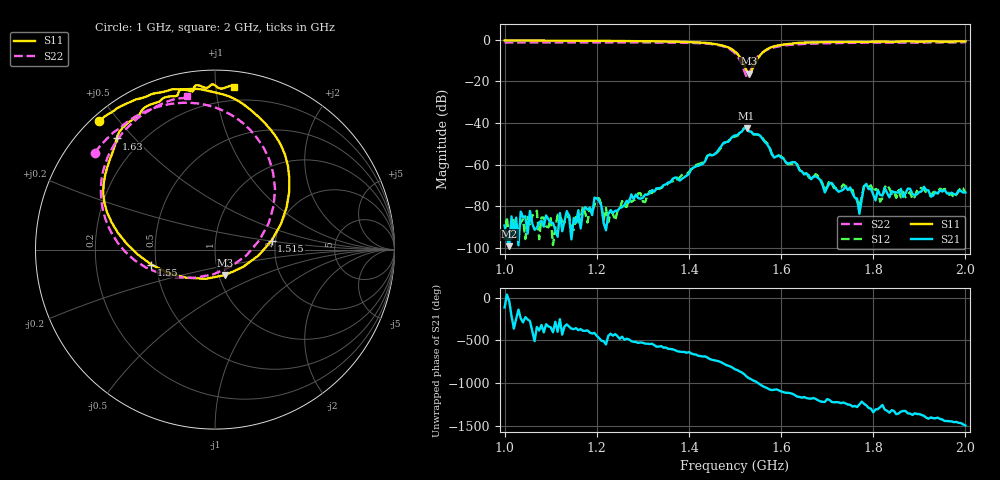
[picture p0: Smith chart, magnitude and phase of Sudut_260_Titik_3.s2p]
# Hz S RI R 50
! CMT, C1220, 16058040, 17.2.0/1
! Date: 14/08/2018 12:40:32
! Data: Format (Calibration Info)
! Freq  S11: Re/Im (F2)  S21: Re/Im (F2)  S12: Re/Im (F2)  S22: Re/Im (F2)
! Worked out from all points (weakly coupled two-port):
!   201 points, 1 GHz to 2 GHz, reference 50 ohm
!   highest |S21| = -42.43 dB at 1.525 GHz (marker M1); lowest = -99.3 dB at 1.01 GHz (marker M2)
!   lowest |S11| = -16.3 dB at 1.53 GHz (marker M3), VSWR 1.36, Z = 53.6 - j15.6 ohm
!   |S11| at or under -10 dB: 1.515 GHz to 1.547 GHz (31.58 MHz wide, 2.06 % of centre)
!   |S22| runs from -17.8 to -1.2 dB; largest |S21 - S12| = 0.00031
!   S11 on the Smith chart (normalised r, x): 1 GHz: 0.02, +0.44; 1.515 GHz: 1.90, +0.21; 1.55 GHz: 0.47, -0.09; 1.63 GHz: 0.11, +0.45; 2 GHz: 0.10, +1.12
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1e9  -0.6469 0.7139  -1.46e-05 -3.1e-05  1.42e-05 5.24e-06  -0.6705 0.5408
1.01e9  -0.634 0.7233  8.46e-06 -6.82e-06  1.42e-05 8.33e-07  -0.6645 0.5475
1.17e9  -0.4717 0.8227  6.78e-05 -3.53e-05  8.66e-05 -5.16e-05  -0.5583 0.6583
1.305e9  -0.2548 0.8886  -0.00019 -8.04e-06  -0.000123 -1.83e-05  -0.4219 0.7536
1.335e9  -0.2087 0.8927  -0.00023 0.000141  -0.000201 0.000165  -0.3737 0.7755
1.45e9  0.1887 0.7863  0.00164 -0.000165  0.00167 -0.000329  0.018 0.7853
1.5e9  0.413 0.3191  -0.00232 -0.00444  -0.00225 -0.00418  0.3345 0.3385
1.515e9  0.315 0.0497  -0.00564 -0.00266  -0.0056 -0.00283  0.2475 0.0527
1.525e9  0.1563 -0.0968  -0.00703 0.00277  -0.00709 0.00272  0.0869 -0.0958
1.53e9  0.056 -0.1422  -0.00478 0.00408  -0.00481 0.00406  -0.013 -0.1389
1.55e9  -0.3545 -0.0838  0.000667 0.00523  0.000417 0.00523  -0.3846 -0.1003
1.585e9  -0.6226 0.3138  0.00146 8.91e-05  0.00151 7.89e-06  -0.6235 0.2158
1.63e9  -0.548 0.6195  0.00058 -0.000979  0.000613 -0.000921  -0.6152 0.4655
1.67e9  -0.4344 0.7426  -2.75e-05 -0.00051  -2.02e-05 -0.000496  -0.563 0.5829
1.695e9  -0.4017 0.7829  -0.00016 -0.00014  -0.0002 -0.000132  -0.5304 0.6308
1.75e9  -0.2877 0.844  -0.000278 -3.72e-05  -0.000246 3.29e-05  -0.4584 0.7088
1.77e9  -0.2349 0.8543  -6.4e-05 -1.31e-05  -8.36e-05 -3.19e-05  -0.4344 0.7288
1.785e9  -0.2091 0.8594  -0.000342 -4.49e-06  -0.000326 1.46e-05  -0.4152 0.743
1.815e9  -0.1797 0.8916  -0.000175 6.1e-05  9.4e-05 8.59e-05  -0.3793 0.7682
1.835e9  -0.1318 0.8816  -1.44e-05 0.000162  -0.000157 0.000212  -0.3557 0.7822
1.885e9  -0.0731 0.9088  6.82e-05 0.000184  4.14e-05 0.000139  -0.2943 0.813
2e9  0.1034 0.9065  0.000126 -0.000171  0.000151 -0.000147  -0.1559 0.854
